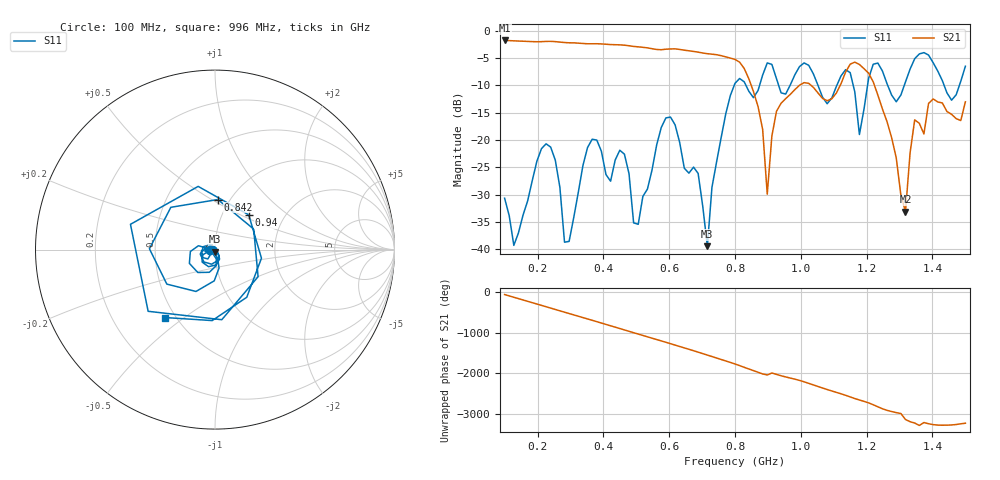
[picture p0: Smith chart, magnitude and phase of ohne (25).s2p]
! NanoVNA-App
! Date: 2025-09-26 09:55:35
! Start: 100MHz Stop: 1,5GHz Points: 101
! S-Parameter data: F S11 S21 S12 S22
# Hz S RI R 50
!  Frequency  S11_Real  S11_Imag  S21_Real  S21_Imag  S12_Real  S12_Imag  S22_Real  S22_Imag
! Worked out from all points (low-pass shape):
!   101 points, 100 MHz to 1.5 GHz, reference 50 ohm
!   highest |S21| = -1.79 dB at 100 MHz (marker M1); lowest = -33.1 dB at 1.318 GHz (marker M2)
!   |S21| within 3 dB of the highest: start of sweep to 771.6 MHz
!   lowest |S11| = -39.4 dB at 716 MHz (marker M3), VSWR 1.02, Z = 49.9 - j1.06 ohm
!   |S11| at or under -10 dB: start of sweep to 797.6 MHz; 833.3 MHz to 874.7 MHz (41.42 MHz wide, 4.85 % of centre); 1.052 GHz to 1.109 GHz (57.26 MHz wide, 5.3 % of centre)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
!   S12 and S22 are empty: the file has one direction only
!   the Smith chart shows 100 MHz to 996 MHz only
!   S11 on the Smith chart (normalised r, x): 100 MHz: 0.94, -0.01; 842 MHz: 0.88, +0.53; 940 MHz: 1.33, +0.56; 996 MHz: 0.44, -0.43
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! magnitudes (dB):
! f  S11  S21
! 100 MHz  -30.6  -1.8
! 128 MHz  -39.3  -1.9
! 226 MHz  -20.7  -2.0
! 296 MHz  -38.5  -2.2
! 338 MHz  -24.6  -2.3
! 464 MHz  -22.6  -2.7
! 506 MHz  -35.4  -3.0
! 576 MHz  -17.7  -3.5
! 716 MHz  -39.4  -4.2
! 800 MHz  -9.6  -5.3
! 842 MHz  -11.1  -8.8
! 898 MHz  -5.9  -29.9
! 940 MHz  -11.4  -13.3
! 996 MHz  -6.6  -10.0
! 1.038 GHz  -7.9  -10.4
! 1.15 GHz  -7.7  -6.1
! 1.178 GHz  -19.0  -6.2
! 1.22 GHz  -6.1  -9.4
! 1.276 GHz  -11.8  -19.6
! 1.318 GHz  -9.4  -33.1
! 1.346 GHz  -5.1  -16.3
! 1.5 GHz  -6.5  -13.0
